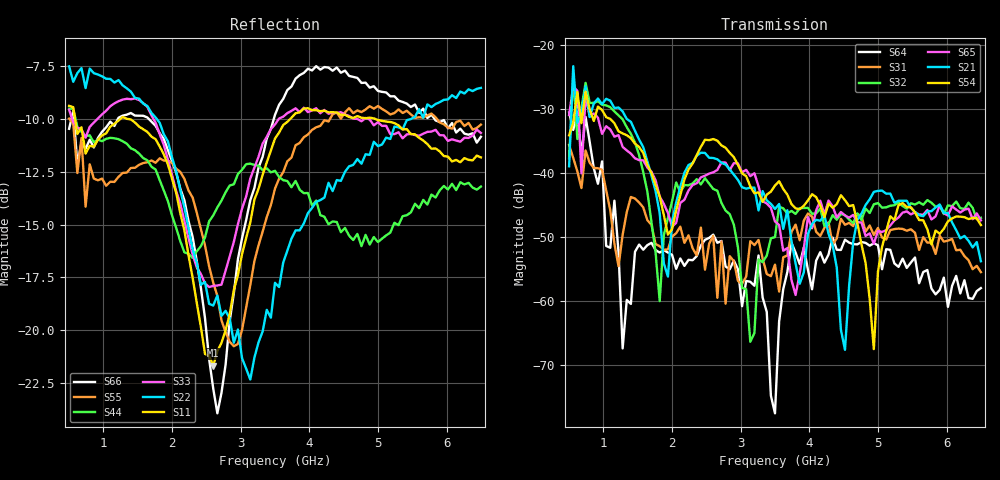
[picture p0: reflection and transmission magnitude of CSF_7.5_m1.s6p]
!Keysight Technologies,M9804A,MY58100912,A.14.10.03
!Date: Thursday, April 27, 2023 10:28:33
!Correction: S11(C  6-Port  )
!S12(C  6-Port  )
!S13(C  6-Port  )
!S14(C  6-Port  )
!S15(C  6-Port  )
!S16(C  6-Port  )
!S21(C  6-Port  )
!S22(C  6-Port  )
!S23(C  6-Port  )
!S24(C  6-Port  )
!S25(C  6-Port  )
!S26(C  6-Port  )
!S31(C  6-Port  )
!S32(C  6-Port  )
!S33(C  6-Port  )
!S34(C  6-Port  )
!S35(C  6-Port  )
!S36(C  6-Port  )
!S41(C  6-Port  )
!S42(C  6-Port  )
!S43(C  6-Port  )
!S44(C  6-Port  )
!S45(C  6-Port  )
!S46(C  6-Port  )
!S51(C  6-Port  )
!S52(C  6-Port  )
!S53(C  6-Port  )
!S54(C  6-Port  )
!S55(C  6-Port  )
!S56(C  6-Port  )
!S61(C  6-Port  )
!S62(C  6-Port  )
!S63(C  6-Port  )
!S64(C  6-Port  )
!S65(C  6-Port  )
!S66(C  6-Port  )
!S6P File: Measurement: :
# Hz S  RI  R 50
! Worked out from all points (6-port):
!   101 points, 500 MHz to 6.5 GHz, reference 50 ohm
!   strongest paths, dB at 500 MHz, 2 GHz, 3.5 GHz, 5 GHz, 6.5 GHz:
!     S54: -34.0, -48.7, -41.9, -55.4, -48.1
!     S21: -38.9, -47.5, -45.6, -42.7, -53.7
!     S65: -30.9, -48.3, -47.5, -49.0, -47.3
!     S32: -37.6, -44.4, -50.0, -44.6, -46.9
!     S31: -35.6, -49.9, -54.3, -48.5, -55.4
!     S64: -30.5, -52.7, -77.5, -51.2, -57.9
!   lowest |S11| = -21.7 dB at 2.6 GHz (marker M1), VSWR 1.18, Z = 42.6 + j2.04 ohm
!   |S11| at or under -10 dB: 586.7 MHz to 1.244 GHz (657.2 MHz wide, 71.8 % of centre); 1.37 GHz to 3.72 GHz (2.35 GHz wide, 92.4 % of centre); 4.966 GHz to end of sweep
